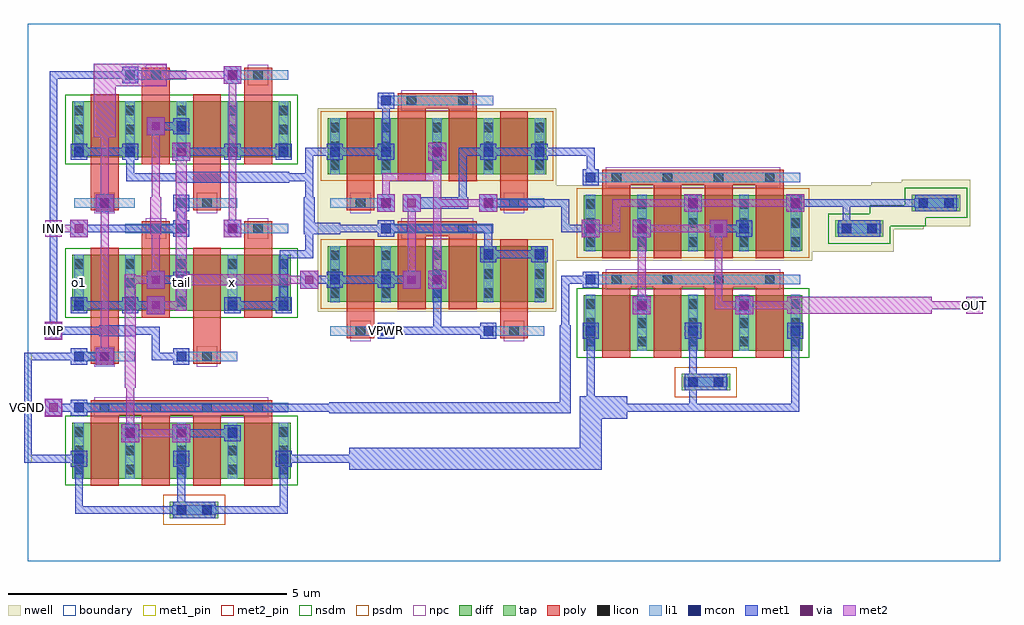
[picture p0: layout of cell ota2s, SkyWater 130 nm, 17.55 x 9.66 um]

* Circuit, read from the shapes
.subckt ota2s INN INP OUT VBN VGND VPWR o1 tail x
XM1 tail VBN VGND VGND sky130_fd_pr__nfet_01v8 w=1 l=0.5 m=4
XM2 o1 VGND o1 VGND sky130_fd_pr__nfet_01v8 w=1 l=0.5 m=2
XM3 x VGND x VGND sky130_fd_pr__nfet_01v8 w=1 l=0.5 m=2
XM4 tail INN o1 VGND sky130_fd_pr__nfet_01v8 w=1 l=0.5 m=2
XM5 tail INP x VGND sky130_fd_pr__nfet_01v8 w=1 l=0.5 m=2
XM6 OUT VBN VGND VGND sky130_fd_pr__nfet_01v8 w=1 l=0.5 m=4
XM7 o1 VPWR o1 VPWR sky130_fd_pr__pfet_01v8 w=1 l=0.5 m=2
XM8 x VPWR x VPWR sky130_fd_pr__pfet_01v8 w=1 l=0.5 m=2
XM9 VPWR x o1 VPWR sky130_fd_pr__pfet_01v8 w=1 l=0.5 m=2
XM10 VPWR x x VPWR sky130_fd_pr__pfet_01v8 w=1 l=0.5 m=2
XM11 OUT o1 VPWR VPWR sky130_fd_pr__pfet_01v8 w=1 l=0.5 m=4
.ends

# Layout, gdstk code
import gdstk
lib = gdstk.Library(unit=1e-6, precision=1e-09)
def R(c, l, rs):  # rectangles x0, y0, x1, y1
    for r in rs: c.add(gdstk.rectangle(r[:2], r[2:], *l))
def A(c, l, x, y, w, h, nx, ny, dx, dy):  # array of equal rectangles
    R(c, l, [(x+i*dx, y+j*dy, x+i*dx+w, y+j*dy+h) for i in range(nx) for j in range(ny)])
nwell = (64, 20)
diff = (65, 20)
tap = (65, 44)
poly = (66, 20)
licon = (66, 44)
li1 = (67, 20)
mcon = (67, 44)
met1_pin = (68, 16)
met1 = (68, 20)
via = (68, 44)
met2_pin = (69, 16)
met2 = (69, 20)
nsdm = (93, 44)
psdm = (94, 20)
npc = (95, 20)
boundary = (235, 4)

ota2s = lib.new_cell('ota2s')
R(ota2s, nwell, [(5.215,4.48,9.505,5.4), (5.215,5.4,14.105,5.56), (5.215,5.56,15.565,5.97), (5.215,5.97,16.112,6.02), (5.215,6.02,16.945,6.76), (5.215,6.76,9.505,8.14), (15.168,6.76,16.945,6.81), (15.715,6.81,16.945,6.86)])
R(ota2s, diff, [(0.795,1.485,4.725,2.485), (9.995,3.785,13.925,4.785), (0.795,4.505,4.725,5.505), (5.395,4.66,9.325,5.66), (9.995,5.58,13.925,6.58), (5.395,6.96,9.325,7.96), (0.795,7.265,4.725,8.265)])
R(ota2s, tap, [(2.555,0.775,3.425,1.065), (11.755,3.075,12.625,3.365), (14.515,5.835,15.385,6.125), (15.895,6.295,16.765,6.585)])
A(ota2s, poly, 1.13, 1.355, 0.5, 1.405, 4, 1, 0.92, 0)
A(ota2s, poly, 10.33, 3.655, 0.5, 1.405, 4, 1, 0.92, 0)
A(ota2s, poly, 10.33, 5.45, 0.5, 1.45, 4, 1, 0.92, 0)
A(ota2s, poly, 2.97, 6.305, 0.5, 0.27, 3, 1, 2.76, 0)
R(ota2s, poly, [(1.13,2.625,4.39,2.895), (1.13,3.545,1.63,3.815), (2.97,3.545,3.47,3.815), (1.13,3.68,1.63,5.635), (2.97,3.68,3.47,5.635), (5.73,4.005,6.23,4.275), (8.49,4.005,8.99,4.275), (5.73,4.14,6.23,5.79), (8.49,4.14,8.99,5.79), (2.05,4.375,2.55,5.98), (3.89,4.375,4.39,5.98), (6.65,4.53,7.15,5.98), (7.57,4.53,8.07,5.98), (10.33,4.925,13.59,5.195), (2.05,5.845,2.55,6.115), (3.89,5.845,4.39,6.115), (6.65,5.845,8.07,6.115), (1.13,6.305,1.63,6.575), (1.13,6.44,1.63,8.395), (2.97,6.44,3.47,8.395), (5.73,6.44,6.23,8.09), (8.49,6.44,8.99,8.09), (10.33,6.765,13.59,7.035), (6.65,6.83,7.15,8.28), (7.57,6.83,8.07,8.28), (2.05,7.135,2.55,8.74), (3.89,7.135,4.39,8.74), (6.65,8.145,8.07,8.415), (2.05,8.605,2.55,8.875), (3.89,8.605,4.39,8.875)])
A(ota2s, licon, 0.835, 1.56, 0.17, 0.17, 5, 3, 0.92, 0.34)
A(ota2s, licon, 1.295, 2.675, 0.17, 0.17, 4, 1, 0.92, 0)
A(ota2s, licon, 10.035, 3.86, 0.17, 0.17, 5, 3, 0.92, 0.34)
A(ota2s, licon, 0.835, 4.58, 0.17, 0.17, 5, 3, 0.92, 0.34)
A(ota2s, licon, 5.435, 4.735, 0.17, 0.17, 5, 3, 0.92, 0.34)
A(ota2s, licon, 10.495, 4.975, 0.17, 0.17, 4, 2, 0.92, 1.84)
A(ota2s, licon, 10.035, 5.655, 0.17, 0.17, 5, 3, 0.92, 0.34)
A(ota2s, licon, 3.135, 6.355, 0.17, 0.17, 3, 1, 2.76, 0)
A(ota2s, licon, 5.435, 7.035, 0.17, 0.17, 5, 3, 0.92, 0.34)
A(ota2s, licon, 0.835, 7.34, 0.17, 0.17, 5, 3, 0.92, 0.34)
R(ota2s, licon, [(2.675,0.835,2.845,1.005), (3.135,0.835,3.305,1.005), (11.875,3.135,12.045,3.305), (12.335,3.135,12.505,3.305), (1.295,3.595,1.465,3.765), (3.135,3.595,3.305,3.765), (5.895,4.055,6.065,4.225), (8.655,4.055,8.825,4.225), (2.215,5.895,2.385,6.065), (4.055,5.895,4.225,6.065), (6.815,5.895,6.985,6.065), (7.735,5.895,7.905,6.065), (14.635,5.895,14.805,6.065), (15.095,5.895,15.265,6.065), (1.295,6.355,1.465,6.525), (16.015,6.355,16.185,6.525), (16.475,6.355,16.645,6.525), (6.815,8.195,6.985,8.365), (7.735,8.195,7.905,8.365), (2.215,8.655,2.385,8.825), (4.055,8.655,4.225,8.825)])
A(ota2s, li1, 0.835, 1.48, 0.17, 1.01, 5, 2, 0.92, 3.02)
A(ota2s, li1, 10.035, 3.78, 0.17, 1.01, 5, 2, 0.92, 1.795)
A(ota2s, li1, 5.435, 4.655, 0.17, 1.01, 5, 2, 0.92, 2.3)
A(ota2s, li1, 2.675, 6.355, 1.09, 0.17, 3, 1, 2.76, 0)
A(ota2s, li1, 0.835, 7.26, 0.17, 1.01, 5, 1, 0.92, 0)
R(ota2s, li1, [(2.595,0.835,3.385,1.005), (0.835,2.675,4.685,2.845), (11.795,3.135,12.585,3.305), (0.835,3.595,1.925,3.765), (2.675,3.595,3.765,3.765), (5.435,4.055,6.525,4.225), (8.195,4.055,9.285,4.225), (10.035,4.975,13.885,5.145), (1.755,5.895,2.845,6.065), (3.595,5.895,4.685,6.065), (6.355,5.895,8.365,6.065), (14.555,5.895,15.345,6.065), (0.835,6.355,1.925,6.525), (15.935,6.355,16.725,6.525), (10.035,6.815,13.885,6.985), (6.355,8.195,8.365,8.365), (1.755,8.655,2.845,8.825), (3.595,8.655,4.685,8.825)])
A(ota2s, mcon, 0.835, 1.755, 0.17, 0.17, 3, 1, 1.84, 0)
A(ota2s, mcon, 0.835, 2.675, 0.17, 0.17, 1, 3, 0, 0.92)
A(ota2s, mcon, 6.355, 4.055, 0.17, 0.17, 5, 1, 1.84, 0)
A(ota2s, mcon, 5.435, 4.975, 0.17, 0.17, 3, 1, 0.92, 0)
A(ota2s, mcon, 10.035, 4.975, 0.17, 0.17, 1, 3, 0, 0.92)
A(ota2s, mcon, 10.955, 5.895, 0.17, 0.17, 3, 1, 1.84, 0)
A(ota2s, mcon, 3.595, 7.275, 0.17, 0.17, 7, 1, 0.92, 0)
R(ota2s, mcon, [(2.675,0.835,2.845,1.005), (3.135,0.835,3.305,1.005), (1.755,2.215,1.925,2.385), (3.595,2.215,3.765,2.385), (11.875,3.135,12.045,3.305), (12.335,3.135,12.505,3.305), (2.675,3.595,2.845,3.765), (1.755,4.515,1.925,4.685), (3.595,4.515,3.765,4.685), (4.515,4.515,4.685,4.685), (10.955,4.515,11.125,4.685), (12.795,4.515,12.965,4.685), (2.675,4.975,2.845,5.145), (8.195,5.435,8.365,5.605), (9.115,5.435,9.285,5.605), (2.675,5.895,2.845,6.065), (3.595,5.895,3.765,6.065), (6.355,5.895,6.525,6.065), (15.095,5.895,15.265,6.065), (1.295,6.355,1.465,6.525), (2.675,6.355,2.845,6.525), (6.355,6.355,6.525,6.525), (8.195,6.355,8.365,6.525), (11.875,6.355,12.045,6.525), (13.715,6.355,13.885,6.525), (16.015,6.355,16.185,6.525), (16.475,6.355,16.645,6.525), (0.835,7.275,1.005,7.445), (1.755,7.275,1.925,7.445), (2.675,7.735,2.845,7.905), (6.355,8.195,6.525,8.365), (1.755,8.655,1.925,8.825), (3.595,8.655,3.765,8.825)])
R(ota2s, met1_pin, [(-0.07,1.77,0.07,3.75), (6.295,3.995,6.585,4.285)])
A(ota2s, met1, 0.85, 0.85, 0.14, 1.06, 3, 1, 1.84, 0)
A(ota2s, met1, 0.775, 1.695, 0.29, 0.29, 3, 1, 1.84, 0)
A(ota2s, met1, 0.775, 2.615, 0.29, 0.29, 1, 3, 0, 0.92)
A(ota2s, met1, 6.295, 3.995, 0.29, 0.29, 5, 1, 1.84, 0)
A(ota2s, met1, 5.375, 4.915, 0.29, 0.29, 3, 1, 0.92, 0)
A(ota2s, met1, 9.975, 4.915, 0.29, 0.29, 1, 3, 0, 0.92)
A(ota2s, met1, 3.535, 7.215, 0.29, 0.29, 7, 1, 0.92, 0)
R(ota2s, met1, [(2.615,0.775,3.365,1.065), (0.85,0.85,2.83,0.99), (2.69,0.85,4.67,0.99), (2.69,0.85,2.83,0.99), (5.78,1.64,10.32,2.04), (9.92,1.64,10.32,2.96), (-0.07,1.77,0.99,1.91), (-0.07,1.77,0.07,3.75), (4.53,1.77,6.05,1.91), (1.68,2.14,2,2.46), (2.6,2.14,2.92,2.46), (1.695,2.155,1.985,2.445), (3.535,2.155,3.825,2.445), (2.69,2.23,3.75,2.37), (9.92,2.56,10.78,2.96), (0.3,2.6,0.62,2.92), (5.42,2.66,9.76,2.86), (9.56,2.66,9.76,4.24), (0.39,2.69,0.99,2.83), (0.85,2.69,5.59,2.83), (10.05,2.69,10.19,4.21), (10.51,2.69,12.03,2.83), (11.89,2.69,13.87,2.83), (11.89,2.69,12.03,3.29), (13.73,2.69,13.87,4.21), (11.815,3.075,12.565,3.365), (11.89,3.15,12.03,4.21), (11.89,3.15,12.03,3.29), (1.22,3.52,1.54,3.84), (2.615,3.535,2.905,3.825), (-0.07,3.61,0.99,3.75), (0.85,3.61,1.45,3.75), (2.23,3.61,2.37,4.21), (2.23,3.61,2.83,3.75), (0.3,3.98,0.62,4.3), (1.28,4.04,1.94,4.24), (0.39,4.07,0.53,8.81), (0.39,4.07,1.45,4.21), (1.77,4.07,2.37,4.21), (6.37,4.07,7.43,4.21), (7.29,4.07,7.43,5.13), (7.29,4.07,8.35,4.21), (9.59,4.07,9.73,5.13), (2.14,4.44,2.46,4.76), (10.88,4.44,11.2,4.76), (12.72,4.44,13.04,4.76), (1.695,4.455,1.985,4.745), (3.535,4.455,3.825,4.745), (4.455,4.455,4.745,4.745), (10.895,4.455,11.185,4.745), (12.735,4.455,13.025,4.745), (0.85,4.53,1.91,4.67), (1.77,4.53,2.37,4.67), (3.61,4.53,4.67,4.67), (4.53,4.53,4.67,5.59), (2.14,4.9,2.46,5.22), (4.9,4.9,5.22,5.22), (6.74,4.9,7.06,5.22), (7.2,4.9,7.52,5.22), (2.615,4.915,2.905,5.205), (2.23,4.99,2.83,5.13), (4.99,4.99,5.59,5.13), (5.45,4.99,6.51,5.13), (6.37,4.99,6.97,5.13), (9.59,4.99,10.19,5.13), (8.135,5.375,8.425,5.665), (9.055,5.375,9.345,5.665), (4.53,5.45,5.13,5.59), (4.99,5.45,5.13,6.05), (8.21,5.45,8.35,6.05), (8.21,5.45,9.27,5.59), (0.76,5.82,1.08,6.14), (3.52,5.82,3.84,6.14), (9.96,5.82,10.28,6.14), (10.88,5.82,11.2,6.14), (12.26,5.82,12.58,6.14), (2.615,5.835,2.905,6.125), (3.535,5.835,3.825,6.125), (6.295,5.835,6.585,6.125), (10.895,5.835,11.185,6.125), (12.735,5.835,13.025,6.125), (14.575,5.835,15.325,6.125), (4.96,5.88,5.62,6.08), (4.96,5.88,5.16,6.54), (0.85,5.91,2.83,6.05), (2.69,5.91,2.83,6.51), (5.45,5.91,6.51,6.05), (6.37,5.91,8.35,6.05), (9.59,5.91,9.73,6.51), (9.59,5.91,10.19,6.05), (12.35,5.91,12.95,6.05), (14.65,5.91,14.79,6.51), (14.65,5.91,14.79,6.05), (1.22,6.28,1.54,6.6), (6.28,6.28,6.6,6.6), (6.74,6.28,7.06,6.6), (8.12,6.28,8.44,6.6), (11.8,6.28,12.12,6.6), (13.64,6.28,13.96,6.6), (1.235,6.295,1.525,6.585), (2.615,6.295,2.905,6.585), (6.295,6.295,6.585,6.585), (8.135,6.295,8.425,6.585), (11.815,6.295,12.105,6.585), (13.655,6.295,13.945,6.585), (15.955,6.295,16.705,6.585), (6.8,6.34,7.92,6.54), (4.99,6.37,5.13,7.43), (7.75,6.37,7.89,7.43), (8.21,6.37,9.73,6.51), (13.73,6.37,14.79,6.51), (14.65,6.37,16.17,6.51), (16.03,6.37,16.17,6.51), (2.66,6.8,4.7,7), (1.77,6.83,1.91,7.43), (1.77,6.83,2.83,6.97), (4.53,6.83,5.13,6.97), (10.05,6.83,10.19,7.43), (2.6,7.2,2.92,7.52), (7.2,7.2,7.52,7.52), (0.775,7.215,1.065,7.505), (1.695,7.215,1.985,7.505), (0.85,7.29,1.91,7.43), (2.69,7.29,3.75,7.43), (3.61,7.29,4.67,7.43), (4.99,7.29,5.59,7.43), (5.45,7.29,6.51,7.43), (6.37,7.29,6.51,8.35), (7.75,7.29,8.35,7.43), (8.21,7.29,9.27,7.43), (9.13,7.29,10.19,7.43), (2.14,7.66,2.46,7.98), (2.615,7.675,2.905,7.965), (2.23,7.75,2.83,7.89), (6.295,8.135,6.585,8.425), (3.52,8.58,3.84,8.9), (1.695,8.595,1.985,8.885), (3.535,8.595,3.825,8.885), (0.39,8.67,1.91,8.81)])
R(ota2s, via, [(1.765,2.225,1.915,2.375), (2.685,2.225,2.835,2.375), (0.385,2.685,0.535,2.835), (1.305,3.605,1.455,3.755), (0.385,4.065,0.535,4.215), (2.225,4.525,2.375,4.675), (10.965,4.525,11.115,4.675), (12.805,4.525,12.955,4.675), (2.225,4.985,2.375,5.135), (4.985,4.985,5.135,5.135), (6.825,4.985,6.975,5.135), (7.285,4.985,7.435,5.135), (0.845,5.905,0.995,6.055), (3.605,5.905,3.755,6.055), (10.045,5.905,10.195,6.055), (10.965,5.905,11.115,6.055), (12.345,5.905,12.495,6.055), (1.305,6.365,1.455,6.515), (6.365,6.365,6.515,6.515), (6.825,6.365,6.975,6.515), (8.205,6.365,8.355,6.515), (11.885,6.365,12.035,6.515), (13.725,6.365,13.875,6.515), (2.685,7.285,2.835,7.435), (7.285,7.285,7.435,7.435), (2.225,7.745,2.375,7.895), (3.605,8.665,3.755,8.815)])
R(ota2s, met2_pin, [(0.31,2.61,0.61,2.91), (0.31,3.99,0.61,4.29), (16.87,4.45,17.17,4.75), (0.31,5.83,0.61,6.13)])
R(ota2s, met2, [(1.68,2.14,2,2.46), (2.6,2.14,2.92,2.46), (1.77,2.23,2.83,2.37), (1.77,2.23,1.91,3.29), (0.3,2.6,0.62,2.92), (0.31,2.61,0.61,2.91), (0.39,2.69,0.53,2.83), (1.74,3.12,1.94,5.16), (1.22,3.52,1.54,3.84), (1.31,3.61,1.45,6.51), (0.3,3.98,0.62,4.3), (0.31,3.99,0.61,4.29), (0.39,4.07,0.53,4.21), (2.14,4.44,2.46,4.76), (10.88,4.44,11.2,4.76), (12.72,4.44,13.04,4.76), (13.65,4.45,16.25,4.75), (16.87,4.45,17.17,4.75), (2.66,4.5,2.86,7.46), (2.23,4.53,2.83,4.67), (10.97,4.53,11.11,6.05), (12.35,4.53,12.95,4.67), (12.35,4.53,12.49,6.05), (12.81,4.53,13.87,4.67), (16.03,4.53,17.09,4.67), (16.95,4.53,17.09,4.67), (2.14,4.9,2.46,5.22), (4.9,4.9,5.22,5.22), (6.74,4.9,7.06,5.22), (7.2,4.9,7.52,5.22), (2.66,4.96,4.7,5.16), (1.77,4.99,2.37,5.13), (2.23,4.99,2.37,6.05), (4.53,4.99,5.13,5.13), (6.83,4.99,6.97,6.51), (7.29,4.99,7.43,7.43), (0.76,5.82,1.08,6.14), (3.52,5.82,3.84,6.14), (9.96,5.82,10.28,6.14), (10.88,5.82,11.2,6.14), (12.26,5.82,12.58,6.14), (0.31,5.83,0.61,6.13), (2.2,5.88,2.4,6.54), (0.39,5.91,0.53,6.05), (0.39,5.91,0.99,6.05), (3.61,5.91,3.75,8.81), (10.05,5.91,10.65,6.05), (10.51,5.91,10.65,6.51), (10.97,5.91,12.49,6.05), (1.22,6.28,1.54,6.6), (6.28,6.28,6.6,6.6), (6.74,6.28,7.06,6.6), (8.12,6.28,8.44,6.6), (11.8,6.28,12.12,6.6), (13.64,6.28,13.96,6.6), (1.31,6.37,1.45,7.89), (2.23,6.37,2.37,7.89), (6.37,6.37,6.51,6.97), (7.29,6.37,8.35,6.51), (10.51,6.37,12.03,6.51), (11.89,6.37,13.87,6.51), (6.37,6.83,7.43,6.97), (2.6,7.2,2.92,7.52), (7.2,7.2,7.52,7.52), (1.18,7.62,1.58,8.94), (2.14,7.66,2.46,7.98), (1.18,8.54,2.5,8.94), (3.52,8.58,3.84,8.9), (2.23,8.67,3.75,8.81)])
R(ota2s, nsdm, [(0.67,1.36,4.85,2.61), (9.87,3.66,14.05,4.91), (0.67,4.38,4.85,5.63), (14.39,5.71,15.51,6.02), (14.39,6.02,16.141,6.17), (14.39,6.17,16.89,6.25), (15.139,6.25,16.89,6.4), (15.77,6.4,16.89,6.71), (0.67,7.14,4.85,8.39)])
R(ota2s, psdm, [(2.43,0.65,3.55,1.19), (11.63,2.95,12.75,3.49), (5.27,4.535,9.45,5.785), (9.87,5.455,14.05,6.705), (5.27,6.835,9.45,8.085)])
A(ota2s, npc, 3.035, 6.255, 0.37, 0.37, 3, 1, 2.76, 0)
R(ota2s, npc, [(1.195,2.575,4.325,2.945), (1.195,3.495,1.565,3.865), (3.035,3.495,3.405,3.865), (5.795,3.955,6.165,4.325), (8.555,3.955,8.925,4.325), (10.395,4.875,13.525,5.245), (2.115,5.795,2.485,6.165), (3.955,5.795,4.325,6.165), (6.715,5.795,8.005,6.165), (1.195,6.255,1.565,6.625), (10.395,6.715,13.525,7.085), (6.715,8.095,8.005,8.465), (2.115,8.555,2.485,8.925), (3.955,8.555,4.325,8.925)])
R(ota2s, boundary, [(0,0,17.48,9.66)])
ota2s.add(gdstk.Label('o1', (0.92,5.005), layer=67, texttype=5))
ota2s.add(gdstk.Label('tail', (2.76,5.005), layer=67, texttype=5))
ota2s.add(gdstk.Label('x', (3.68,5.005), layer=67, texttype=5))
ota2s.add(gdstk.Label('VPWR', (6.44,4.14), layer=68, texttype=5))
ota2s.add(gdstk.Label('VGND', (0,2.76), layer=68, texttype=5))
ota2s.add(gdstk.Label('INP', (0.46,4.14), layer=69, texttype=5))
ota2s.add(gdstk.Label('INN', (0.46,5.98), layer=69, texttype=5))
ota2s.add(gdstk.Label('VBN', (0.46,2.76), layer=69, texttype=5))
ota2s.add(gdstk.Label('OUT', (17.02,4.6), layer=69, texttype=5))
ota2s.add(gdstk.Label('VPWR', (6.44,4.14), layer=68, texttype=16))
ota2s.add(gdstk.Label('VGND', (0,2.76), layer=68, texttype=16))
ota2s.add(gdstk.Label('INP', (0.46,4.14), layer=69, texttype=16))
ota2s.add(gdstk.Label('INN', (0.46,5.98), layer=69, texttype=16))
ota2s.add(gdstk.Label('VBN', (0.46,2.76), layer=69, texttype=16))
ota2s.add(gdstk.Label('OUT', (17.02,4.6), layer=69, texttype=16))

lib.write_gds('ota2s.gds')
